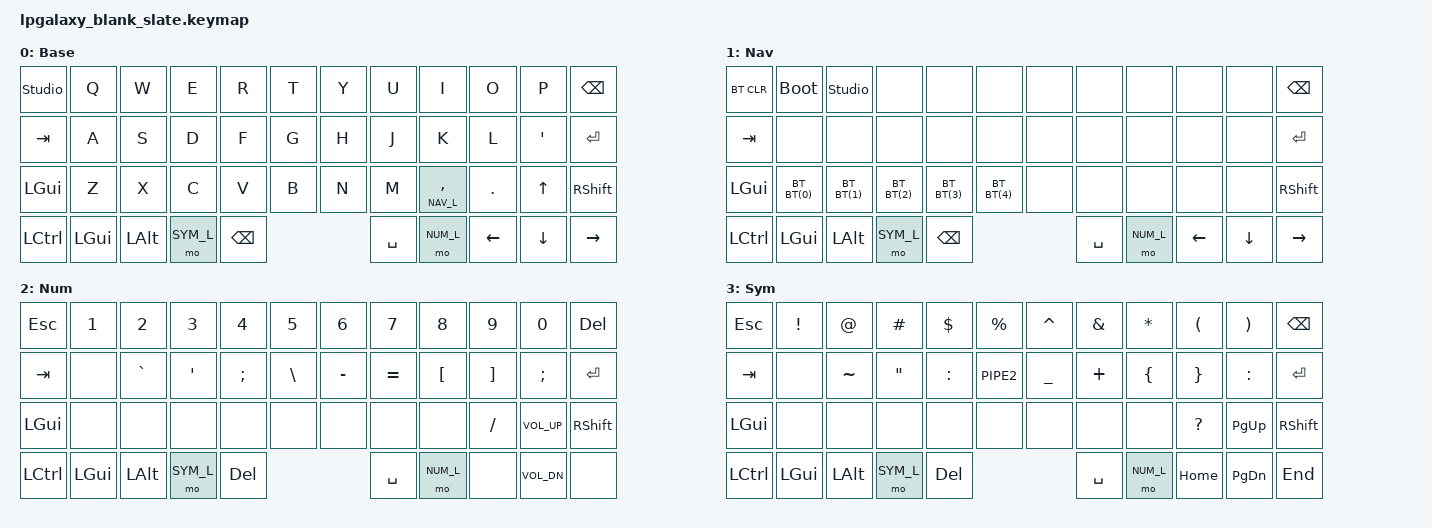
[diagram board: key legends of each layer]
/*
 * Copyright (c) 2022 Pete Johanson
 *
 * SPDX-License-Identifier: MIT
 */

#include <behaviors.dtsi>
#include <dt-bindings/zmk/keys.h>
#include <dt-bindings/zmk/bt.h>
#include <dt-bindings/zmk/outputs.h>

#define TBLE_DUAL_2U 1

#define NAV_L 1
#define NUM_L 2
#define SYM_L 3

// Using layer taps on thumbs, having quick tap as well helps w/ repeating space/backspace
&lt { quick_tap_ms = <200>; };

#define BT(n) BT_SEL n

/ {
    chosen {
       zmk,physical-layout = &layout_ortho_4x12_2x2u; 
    };

    macros {
      ZMK_MACRO(thumbs_up,
		wait-ms = <1>;
		tap-ms = <5>;
                bindings = <&kp PLUS &kp COLON &kp PLUS &kp N1 &kp COLON &kp RET>;
		)
    };
    
    tap_dances {
    	shifty: shift_caps_word {
		compatible = "zmk,behavior-tap-dance";
		label = "TD_SHIFTY";
		#binding-cells = <0>;
		tapping-term-ms = <150>;
		bindings = <&kp LSHFT>, <&caps_word>;
	};
    };

    keymap {
        compatible = "zmk,keymap";

        base_layer {
            label = "Base";
            bindings = <
	
        //╭──────────┬──────────┬──────────┬──────────┬──────────┬──────────┬──────────┬──────────┬──────────┬──────────┬──────────┬─-─────────╮
        //│    ESC   │   Q      │  W       │  E       │  R       │  T       │  Y       │  U       │  I       │  O       │   P      │ BACKSPACE |
         &studio_unlock &kp Q      &kp W      &kp E      &kp R      &kp T     &kp Y      &kp U      &kp I      &kp O      &kp P      &kp BKSP
        //├──────────┬──────────┼──────────┼──────────┼──────────┼──────────┤──────────┼──────────┼──────────┼──────────┼──────────┼──-────────┤
        //│    TAB      A       │  S       │  D       │  F       │  G       │  H       │  J       │  K       │  L       │  QUOT    │   ENTER   |
            &kp TAB     &kp A      &kp S      &kp D      &kp F      &kp G      &kp H      &kp J      &kp K      &kp L     &kp QUOT   &kp ENTER 
        //├──────────┼──────────┼──────────┼──────────┼──────────┤──────────┼──────────├──────────┼──────────┼──────────┼─────-────┼──────────-┤
        //│  GUI     |  Z       │  X       │  C       │  V       │  B       |   N      │  M       │ , <      │ . >      │   UP     │  RSHIFT   |
           &kp LGUI     &kp Z      &kp X      &kp C      &kp V      &kp B      &kp N      &kp M  &mt NAV_L COMMA &kp DOT  &kp UP    &kp RSHIFT
        //├──────────┼──────────┼──────────┼──────────┼──────────╯──────────┼──────────╯──────────┼──────────┼──────────┼─────-────┼────────-──┤
        //   LCTRL   |  LGUI    |   LALT   |   SYM    |       BACKSPACE     |       SPACE         |   NUM    |  LEFT    |   DOWN   |  RIGHT    |
            &kp LCTRL  &kp LGUI   &kp LALT   &mo SYM_L       &kp BKSP             &kp SPACE        &mo NUM_L   &kp LEFT   &kp DOWN   &kp RIGHT
        //╰──────────┴──────────┴──────────╯──────────╯────────────────--───╯──────------------───╯──────────╯──────────╯──────────╯────────-──╯
            >;
        };

        nav_layer {
            label = "Nav";
            bindings = <
        //╭──────────┬──────────┬──────────┬──────────┬──────────┬──────────┬──────────┬──────────┬──────────┬──────────┬──────────┬─-─────────╮
        //│          │          │          │          │          │          │          │          │          │          │          │ BACKSPACE |
           &bt BT_CLR &bootloader &studio_unlock &none  &none      &none       &none      &none       &none      &none      &none    &kp BKSP
        //├──────────┬──────────┼──────────┼──────────┼──────────┼──────────┤──────────┼──────────┼──────────┼──────────┼──────────┼──-────────┤
        //│    TAB   |          │          │          │          │          │          │          │          │          │          │   ENTER   |
            &kp TAB     &none      &none      &none     &none      &none       &none      &none       &none      &none      &none    &kp ENTER 
        //├──────────┼──────────┼──────────┼──────────┼──────────┤──────────┼──────────├──────────┼──────────┼──────────┼─────-────┼──────────-┤
        //│  GUI     |          │          │          │          │          │          │          │          │          │          │  RSHIFT   |
           &kp LGUI    &bt BT(0)  &bt BT(1)  &bt BT(2)  &bt BT(3)  &bt BT(4)   &none      &none       &none      &none      &none    &kp RSHIFT
        //├──────────┼──────────┼──────────┼──────────┼──────────╯──────────┼──────────╯──────────┼──────────┼──────────┼─────-────┼────────-──┤
        //   LCTRL   |  LGUI    |   LALT   |   SYM    |       BACKSPACE     |       SPACE         |   NUM    |  LEFT    |   DOWN   |  RIGHT    |
            &kp LCTRL  &kp LGUI   &kp LALT   &mo SYM_L       &kp BKSP             &kp SPACE        &mo NUM_L   &kp LEFT   &kp DOWN   &kp RIGHT
        //╰──────────┴──────────┴──────────╯──────────╯────────────────--───╯──────------------───╯──────────╯──────────╯──────────╯────────-──╯
            >;
        };

        num_layer {
            label = "Num";
            bindings = <
        //╭──────────┬──────────┬──────────┬──────────┬──────────┬──────────┬──────────┬──────────┬──────────┬──────────┬──────────┬─-─────────╮
        //│    ESC   │    1     │     2    │    3     │     4    │     5    │    6     │   7      │    8     │    9     │   0      │ DELETE    |
             &kp ESC     &kp N1     &kp N2     &kp N3    &kp N4     &kp N5     &kp N6     &kp N7     &kp N8     &kp N9     &kp N0    &kp DEL
        //├──────────┬──────────┼──────────┼──────────┼──────────┼──────────┤──────────┼──────────┼──────────┼──────────┼──────────┼──-────────┤
        //│  TAB     |          │    `     │    '     │    ;     │    \     │   -      │   =      │   [      │    ]     │   ;      │   ENTER   |
            &kp TAB     &none    &kp GRAVE   &kp APOS   &kp SEMI   &kp BSLH  &kp MINUS   &kp EQUAL  &kp LBKT   &kp RBKT   &kp SEMI    &kp ENTER 
        //├──────────┼──────────┼──────────┼──────────┼──────────┤──────────┼──────────├──────────┼──────────┼──────────┼─────-────┼──────────-┤
        //│  GUI     |          │          │          │          │          |          │          │          │    /     │  VOL UP  │  RSHIFT   |
           &kp LGUI     &none      &none      &none      &none      &none      &none      &none     &none     &kp FSLH  &kp C_VOL_UP &kp RSHIFT
        //├──────────┼──────────┼──────────┼──────────┼──────────╯──────────┼──────────╯──────────┼──────────┼──────────┼─────-────┼────────-──┤
        //   LCTRL   |  LGUI    |   LALT   |   SYM    |       DELETE        |       SPACE         |   NUM    |          |  VOL DN  |           |
            &kp LCTRL  &kp LGUI   &kp LALT   &mo SYM_L       &kp DEL               &kp SPACE        &mo NUM_L   &none    &kp C_VOL_DN  &none
        //╰──────────┴──────────┴──────────╯──────────╯────────────────--───╯──────------------───╯──────────╯──────────╯──────────╯────────-──╯
            >;
        };

        sym_layer {
            label = "Sym";
            bindings = <
        //╭──────────┬──────────┬──────────┬──────────┬──────────┬──────────┬──────────┬──────────┬──────────┬──────────┬──────────┬─-─────────╮
        //│    ESC   │    !     │    @     │    #     │    $     │    %     │    ^     │    &     │    *     │    (     │    )     │ BACKSPACE |
             &kp ESC   &kp EXCL    &kp AT   &kp POUND   &kp DLLR   &kp PRCNT  &kp CARET  &kp AMPS   &kp STAR   &kp LPAR   &kp RPAR    &kp BKSP
        //├──────────┬──────────┼──────────┼──────────┼──────────┼──────────┤──────────┼──────────┼──────────┼──────────┼──────────┼──-────────┤
        //│    TAB   |          │   ~      │   "      │   :      │  |       │    _     │   +      │   {      │   }      │    :     │   ENTER   |
            &kp TAB     &none     &kp TILDE  &kp DQT   &kp COLON  &kp PIPE2  &kp UNDER   &kp PLUS   &kp LBRC   &kp RBRC   &kp COLON  &kp ENTER 
        //├──────────┼──────────┼──────────┼──────────┼──────────┤──────────┼──────────├──────────┼──────────┼──────────┼─────-────┼──────────-┤
        //│  GUI     |          │          │          │          │          |          │          │          │    ?     │   PGUP   │  RSHIFT   |
           &kp LGUI     &none      &none      &none      &none      &none      &none      &none     &none      &kp QMARK  &kp PG_UP    &kp RSHIFT
        //├──────────┼──────────┼──────────┼──────────┼──────────╯──────────┼──────────╯──────────┼──────────┼──────────┼─────-────┼────────-──┤
        //   LCTRL   |  LGUI    |   LALT   |   SYM    |     DELETE          |       SPACE         |   NUM    |  HOME    |   PGDN   |   END     |
            &kp LCTRL  &kp LGUI   &kp LALT   &mo SYM_L       &kp DEL              &kp SPACE         &mo NUM_L  &kp HOME   &kp PG_DN   &kp END
        //╰──────────┴──────────┴──────────╯──────────╯────────────────--───╯──────------------───╯──────────╯──────────╯──────────╯────────-──╯
            >;
        };


    };
};
